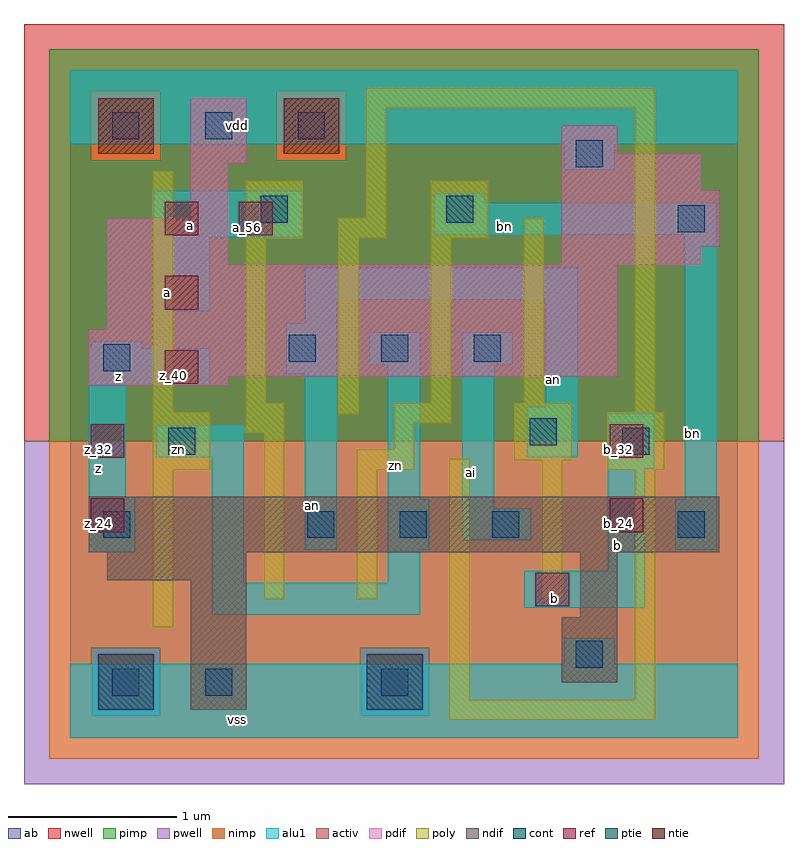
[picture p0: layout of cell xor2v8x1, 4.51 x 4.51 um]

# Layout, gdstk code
import gdstk
lib = gdstk.Library(unit=1e-6, precision=2.5e-09)
def R(c, l, rs):  # rectangles x0, y0, x1, y1
    for r in rs: c.add(gdstk.rectangle(r[:2], r[2:], *l))
def A(c, l, x, y, w, h, nx, ny, dx, dy):  # array of equal rectangles
    R(c, l, [(x+i*dx, y+j*dy, x+i*dx+w, y+j*dy+h) for i in range(nx) for j in range(ny)])
ndif = (3, 0)
pdif = (4, 0)
ntie = (5, 0)
ptie = (6, 0)
ref = (24, 0)
cont = (25, 0)
pwell = (41, 0)
nwell = (42, 0)
activ = (43, 0)
pimp = (44, 0)
nimp = (45, 0)
poly = (46, 0)
alu1 = (49, 0)
ab = (63, 0)

xor2v8x1 = lib.new_cell('xor2v8x1')
R(xor2v8x1, ndif, [(0.715,0.165,1.045,0.935), (2.915,0.33,3.245,0.715), (3.025,0.715,3.245,1.1), (0.22,0.935,1.045,1.1), (0.11,1.1,3.85,1.43)])
R(xor2v8x1, pdif, [(0.11,2.09,0.935,2.145), (0.11,2.145,3.245,2.42), (0.22,2.42,3.245,2.805), (0.22,2.805,0.935,3.08), (2.915,2.805,3.74,2.915), (2.915,2.915,3.85,3.245), (0.715,3.08,0.935,3.41), (2.915,3.245,3.74,3.465), (0.715,3.41,1.045,3.795), (2.915,3.465,3.245,3.63)])
R(xor2v8x1, ntie, [(0.165,3.465,0.495,3.795), (1.265,3.465,1.595,3.795)])
R(xor2v8x1, ptie, [(0.165,0.165,0.495,0.495), (1.76,0.165,2.09,0.495)])
A(xor2v8x1, ref, 0.56, 2.1, 0.2, 0.2, 1, 3, 0, 0.44)
R(xor2v8x1, ref, [(2.76,0.78,2.96,0.98), (0.12,1.22,0.32,1.42), (3.2,1.22,3.4,1.42), (0.12,1.66,0.32,1.86), (3.2,1.66,3.4,1.86), (1,2.98,1.2,3.18)])
A(xor2v8x1, cont, 1.405, 1.185, 0.16, 0.16, 3, 1, 0.55, 0)
A(xor2v8x1, cont, 1.295, 2.23, 0.16, 0.16, 3, 1, 0.55, 0)
A(xor2v8x1, cont, 0.25, 3.55, 0.16, 0.16, 3, 1, 0.55, 0)
R(xor2v8x1, cont, [(0.25,0.25,0.41,0.41), (0.8,0.25,0.96,0.41), (1.845,0.25,2.005,0.41), (3,0.415,3.16,0.575), (0.195,1.185,0.355,1.345), (3.605,1.185,3.765,1.345), (0.58,1.68,0.74,1.84), (3.275,1.68,3.435,1.84), (2.725,1.735,2.885,1.895), (0.195,2.175,0.355,2.335), (3.605,3,3.765,3.16), (1.13,3.055,1.29,3.215), (2.23,3.055,2.39,3.215), (3,3.385,3.16,3.545)])
R(xor2v8x1, pwell, [(-0.275,-0.275,4.235,1.76)])
R(xor2v8x1, nwell, [(-0.275,1.76,4.235,4.235)])
R(xor2v8x1, activ, [(0.165,0.165,0.495,0.495), (0.715,0.165,1.045,0.935), (1.76,0.165,2.09,0.495), (2.915,0.33,3.245,0.715), (3.025,0.715,3.245,1.1), (0.22,0.935,1.045,1.1), (0.11,1.1,3.85,1.43), (0.11,2.09,0.935,2.145), (0.11,2.145,3.245,2.42), (0.22,2.42,3.245,2.805), (0.22,2.805,0.935,3.08), (2.915,2.805,3.74,2.915), (2.915,2.915,3.85,3.245), (0.715,3.08,0.935,3.41), (2.915,3.245,3.74,3.465), (0.715,3.41,1.045,3.795), (0.165,3.465,0.495,3.795), (1.265,3.465,1.595,3.795), (2.915,3.465,3.245,3.63)])
R(xor2v8x1, pimp, [(0.125,0.125,0.535,0.535), (1.72,0.125,2.13,0.535), (-0.125,1.76,4.085,3.425), (-0.125,3.425,0.125,3.835), (0.535,3.425,1.225,3.835), (1.635,3.425,4.085,3.835), (-0.125,3.835,4.085,4.085)])
R(xor2v8x1, nimp, [(-0.125,-0.125,4.085,0.125), (-0.125,0.125,0.125,0.535), (0.535,0.125,1.72,0.535), (2.13,0.125,4.085,0.535), (-0.125,0.535,4.085,1.76), (0.125,3.425,0.535,3.835), (1.225,3.425,1.635,3.835)])
R(xor2v8x1, poly, [(2.25,0.105,3.47,0.225), (2.25,0.225,2.37,1.655), (3.35,0.225,3.47,1.59), (0.49,0.655,0.61,1.59), (1.15,0.82,1.27,1.81), (1.7,0.82,1.82,1.59), (2.8,0.82,2.92,1.645), (0.49,1.59,0.83,1.93), (1.7,1.59,2.04,1.71), (3.185,1.59,3.525,1.93), (2.635,1.645,2.975,1.985), (1.92,1.71,2.04,1.865), (1.04,1.81,1.27,1.985), (1.92,1.865,2.26,1.985), (1.59,1.92,1.71,2.965), (0.49,1.93,0.61,3.36), (3.35,1.93,3.47,3.735), (1.04,1.985,1.16,2.965), (2.14,1.985,2.26,2.965), (2.69,1.985,2.81,3.085), (1.04,2.965,1.38,3.305), (1.59,2.965,1.875,3.085), (2.14,2.965,2.48,3.305), (1.755,3.085,1.875,3.735), (1.755,3.735,3.47,3.855)])
R(xor2v8x1, alu1, [(0,0,3.96,0.44), (2.93,0.44,3.23,0.59), (0.84,0.73,2.075,0.92), (2.695,0.77,3.41,0.99), (0.84,0.92,1.03,1.665), (1.885,0.92,2.075,1.115), (3.19,0.99,3.41,1.595), (0.11,1.1,0.385,1.43), (1.39,1.115,1.58,2.16), (1.885,1.115,2.13,1.415), (3.59,1.115,3.835,1.415), (2.325,1.17,2.735,1.36), (2.325,1.36,2.515,2.215), (1.885,1.415,2.075,2.215), (3.645,1.415,3.835,2.985), (0.11,1.43,0.33,2.09), (3.19,1.595,3.465,1.925), (0.51,1.665,1.03,1.855), (2.71,1.665,3.01,1.965), (2.82,1.965,3.01,2.6), (0.11,2.09,0.825,2.31), (1.28,2.16,1.58,2.46), (1.775,2.215,2.075,2.405), (2.325,2.215,2.625,2.405), (0.125,2.31,0.425,2.35), (1.39,2.46,1.58,2.6), (0.495,2.53,0.825,2.97), (1.39,2.6,3.01,2.79), (0.495,2.97,1.375,3.245), (2.16,2.985,3.835,3.175), (2.16,3.175,2.46,3.23), (2.93,3.37,3.23,3.52), (0,3.52,3.96,3.96)])
R(xor2v8x1, ab, [(0,0,3.96,3.96)])
xor2v8x1.add(gdstk.Label('vss', (0.99,0.11), layer=49, texttype=0))
xor2v8x1.add(gdstk.Label('b', (2.8725,0.825), layer=49, texttype=0))
xor2v8x1.add(gdstk.Label('bn', (3.6925,1.8075), layer=49, texttype=0))
xor2v8x1.add(gdstk.Label('b', (3.245,1.14), layer=49, texttype=0))
xor2v8x1.add(gdstk.Label('an', (2.8675,2.1225), layer=49, texttype=0))
xor2v8x1.add(gdstk.Label('ai', (2.3725,1.5725), layer=49, texttype=0))
xor2v8x1.add(gdstk.Label('zn', (1.9325,1.615), layer=49, texttype=0))
xor2v8x1.add(gdstk.Label('an', (1.4375,1.375), layer=49, texttype=0))
xor2v8x1.add(gdstk.Label('zn', (0.64,1.7125), layer=49, texttype=0))
xor2v8x1.add(gdstk.Label('z', (0.165,1.595), layer=49, texttype=0))
xor2v8x1.add(gdstk.Label('z', (0.2875,2.145), layer=49, texttype=0))
xor2v8x1.add(gdstk.Label('a', (0.5775,2.64), layer=49, texttype=0))
xor2v8x1.add(gdstk.Label('bn', (2.5775,3.0325), layer=49, texttype=0))
xor2v8x1.add(gdstk.Label('a', (0.715,3.0375), layer=49, texttype=0))
xor2v8x1.add(gdstk.Label('vdd', (0.99,3.63), layer=49, texttype=0))
xor2v8x1.add(gdstk.Label('b_32', (3.25,1.71), layer=24, texttype=0))
xor2v8x1.add(gdstk.Label('b_16', (2.81,0.83), layer=24, texttype=0))
xor2v8x1.add(gdstk.Label('b_24', (3.25,1.27), layer=24, texttype=0))
xor2v8x1.add(gdstk.Label('a_56', (1.05,3.03), layer=24, texttype=0))
xor2v8x1.add(gdstk.Label('a_56', (0.61,3.03), layer=24, texttype=0))
xor2v8x1.add(gdstk.Label('z_40', (0.61,2.15), layer=24, texttype=0))
xor2v8x1.add(gdstk.Label('z_24', (0.17,1.27), layer=24, texttype=0))
xor2v8x1.add(gdstk.Label('z_32', (0.17,1.71), layer=24, texttype=0))
xor2v8x1.add(gdstk.Label('a_48', (0.61,2.59), layer=24, texttype=0))

lib.write_gds('xor2v8x1.gds')
